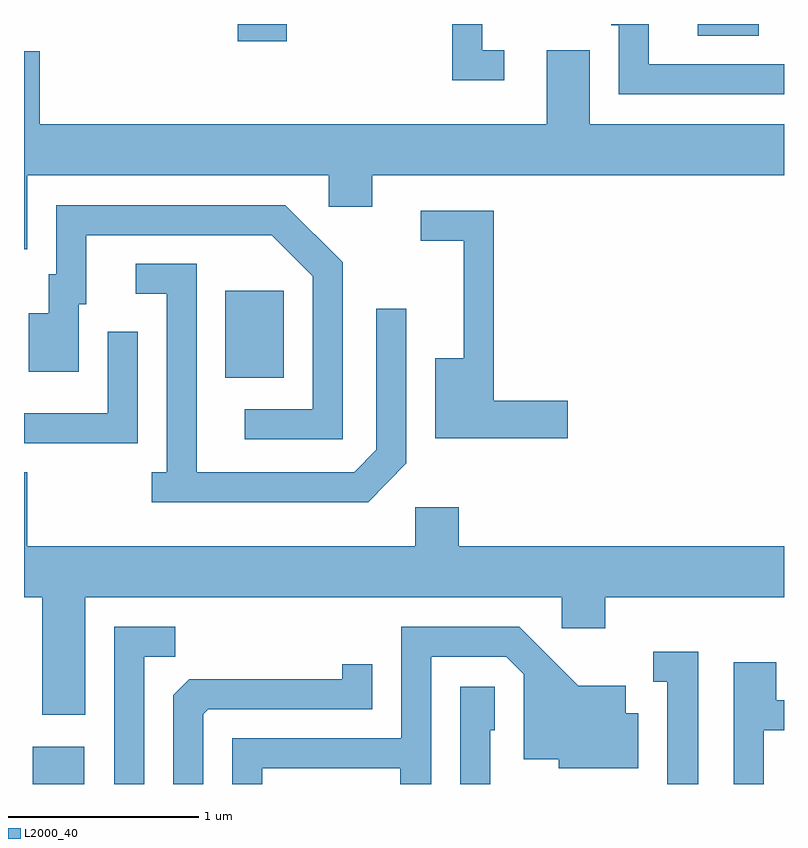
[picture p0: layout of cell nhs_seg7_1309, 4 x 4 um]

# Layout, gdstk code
import gdstk
lib = gdstk.Library(unit=1e-6, precision=1e-09)
def R(c, l, rs):  # rectangles x0, y0, x1, y1
    for r in rs: c.add(gdstk.rectangle(r[:2], r[2:], *l))
def P(c, l, *ps):  # polygons
    for p in ps: c.add(gdstk.Polygon(p, *l))
L2000_40 = (2000, 40)

nhs_seg7_1309 = lib.new_cell('nhs_seg7_1309')
R(nhs_seg7_1309, L2000_40, [(225.656,1682.252,225.929,1682.449), (226.671,1684.391,226.979,1684.849), (226.736,1686.161,226.994,1686.252), (229.158,1686.191,229.479,1686.252)])
P(nhs_seg7_1309, L2000_40, [(229.611,1686.039),(228.899,1686.039),(228.899,1686.252),(228.701,1686.252),(228.701,1686.246),(228.741,1686.246),(228.741,1685.881),(229.611,1685.881)],
  [(228.138,1686.114),(228.024,1686.114),(228.024,1686.252),(227.866,1686.252),(227.866,1685.956),(228.138,1685.956)],
  [(225.629,1685.456),(227.216,1685.456),(227.216,1685.291),(227.444,1685.291),(227.444,1685.456),(229.611,1685.456),(229.611,1685.724),(228.589,1685.724),(228.589,1686.114),(228.361,1686.114),(228.361,1685.724),(225.694,1685.724),(225.694,1686.108),(225.611,1686.108),(225.611,1685.066),(225.629,1685.066)],
  [(227.289,1684.997),(226.987,1685.299),(225.781,1685.299),(225.781,1684.934),(225.741,1684.934),(225.741,1684.729),(225.636,1684.729),(225.636,1684.421),(225.899,1684.421),(225.899,1684.776),(225.939,1684.776),(225.939,1685.141),(226.914,1685.141),(227.131,1684.924),(227.131,1684.224),(226.773,1684.224),(226.773,1684.066),(227.289,1684.066)],
  [(228.474,1684.269),(228.084,1684.269),(228.084,1685.269),(227.698,1685.269),(227.698,1685.111),(227.926,1685.111),(227.926,1684.494),(227.776,1684.494),(227.776,1684.071),(228.474,1684.071)],
  [(227.624,1683.939),(227.624,1684.753),(227.466,1684.753),(227.466,1684.012),(227.349,1683.894),(226.519,1683.894),(226.519,1684.989),(226.198,1684.989),(226.198,1684.831),(226.361,1684.831),(226.361,1683.894),(226.283,1683.894),(226.283,1683.736),(227.422,1683.736)],
  [(226.209,1684.633),(226.051,1684.633),(226.051,1684.204),(225.611,1684.204),(225.611,1684.046),(226.209,1684.046)],
  [(225.934,1683.236),(228.441,1683.236),(228.441,1683.071),(228.669,1683.071),(228.669,1683.236),(229.611,1683.236),(229.611,1683.504),(227.899,1683.504),(227.899,1683.709),(227.671,1683.709),(227.671,1683.504),(225.629,1683.504),(225.629,1683.894),(225.611,1683.894),(225.611,1683.236),(225.706,1683.236),(225.706,1682.616),(225.934,1682.616)],
  [(226.864,1682.336),(227.591,1682.336),(227.591,1682.252),(227.754,1682.252),(227.754,1682.921),(228.149,1682.921),(228.241,1682.829),(228.241,1682.381),(228.426,1682.381),(228.426,1682.336),(228.844,1682.336),(228.844,1682.624),(228.779,1682.624),(228.779,1682.769),(228.527,1682.769),(228.217,1683.079),(227.596,1683.079),(227.596,1682.494),(226.706,1682.494),(226.706,1682.252),(226.864,1682.252)],
  [(226.244,1682.921),(226.408,1682.921),(226.408,1683.079),(226.086,1683.079),(226.086,1682.252),(226.244,1682.252)],
  [(229.159,1682.949),(228.923,1682.949),(228.923,1682.791),(228.996,1682.791),(228.996,1682.252),(229.159,1682.252)],
  [(229.504,1682.536),(229.611,1682.536),(229.611,1682.694),(229.569,1682.694),(229.569,1682.894),(229.346,1682.894),(229.346,1682.252),(229.504,1682.252)],
  [(226.554,1682.619),(226.582,1682.646),(227.444,1682.646),(227.444,1682.883),(227.286,1682.883),(227.286,1682.804),(226.482,1682.804),(226.396,1682.719),(226.396,1682.252),(226.554,1682.252)],
  [(228.064,1682.536),(228.089,1682.536),(228.089,1682.764),(227.906,1682.764),(227.906,1682.252),(228.064,1682.252)])

lib.write_gds('nhs_seg7_1309.gds')
